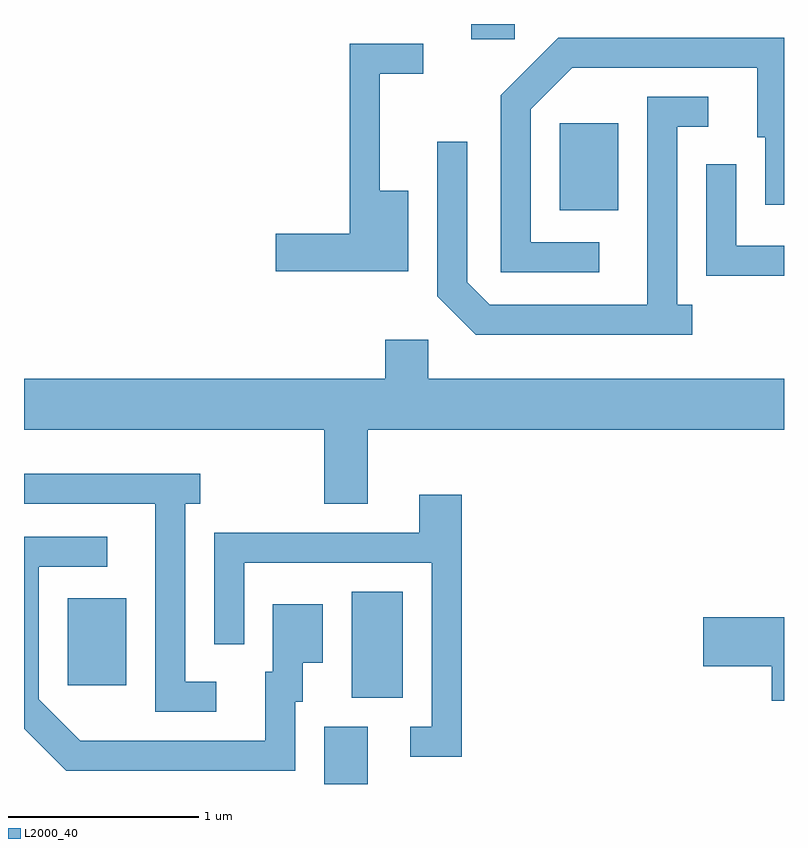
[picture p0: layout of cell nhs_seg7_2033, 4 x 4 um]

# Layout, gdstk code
import gdstk
lib = gdstk.Library(unit=1e-6, precision=1e-09)
def R(c, l, rs):  # rectangles x0, y0, x1, y1
    for r in rs: c.add(gdstk.rectangle(r[:2], r[2:], *l))
def P(c, l, *ps):  # polygons
    for p in ps: c.add(gdstk.Polygon(p, *l))
L2000_40 = (2000, 40)

nhs_seg7_2033 = lib.new_cell('nhs_seg7_2033')
R(nhs_seg7_2033, L2000_40, [(249.191,1690.252,249.419,1690.554), (249.336,1690.706,249.604,1691.264), (247.841,1690.771,248.149,1691.229), (250.431,1693.271,250.739,1693.729), (249.966,1694.171,250.194,1694.252)])
P(nhs_seg7_2033, L2000_40, [(250.638,1693.104),(250.279,1693.104),(250.279,1693.804),(250.497,1694.021),(251.471,1694.021),(251.471,1693.656),(251.511,1693.656),(251.511,1693.301),(251.611,1693.301),(251.611,1694.179),(250.424,1694.179),(250.121,1693.877),(250.121,1692.946),(250.638,1692.946)],
  [(249.634,1693.374),(249.484,1693.374),(249.484,1693.991),(249.713,1693.991),(249.713,1694.149),(249.326,1694.149),(249.326,1693.149),(248.936,1693.149),(248.936,1692.951),(249.634,1692.951)],
  [(251.128,1692.774),(251.049,1692.774),(251.049,1693.711),(251.213,1693.711),(251.213,1693.869),(250.891,1693.869),(250.891,1692.774),(250.062,1692.774),(249.944,1692.892),(249.944,1693.633),(249.786,1693.633),(249.786,1692.819),(249.989,1692.616),(251.128,1692.616)],
  [(251.611,1693.084),(251.359,1693.084),(251.359,1693.513),(251.201,1693.513),(251.201,1692.926),(251.611,1692.926)],
  [(249.419,1692.116),(251.611,1692.116),(251.611,1692.384),(249.739,1692.384),(249.739,1692.589),(249.511,1692.589),(249.511,1692.384),(247.611,1692.384),(247.611,1692.116),(249.191,1692.116),(249.191,1691.726),(249.419,1691.726)],
  [(248.623,1690.789),(248.459,1690.789),(248.459,1691.726),(248.538,1691.726),(248.538,1691.884),(247.611,1691.884),(247.611,1691.726),(248.301,1691.726),(248.301,1690.631),(248.623,1690.631)],
  [(249.914,1691.774),(249.691,1691.774),(249.691,1691.574),(248.611,1691.574),(248.611,1690.988),(248.769,1690.988),(248.769,1691.416),(249.756,1691.416),(249.756,1690.554),(249.643,1690.554),(249.643,1690.396),(249.914,1690.396)],
  [(249.039,1690.686),(249.079,1690.686),(249.079,1690.891),(249.184,1690.891),(249.184,1691.199),(248.921,1691.199),(248.921,1690.844),(248.881,1690.844),(248.881,1690.479),(247.907,1690.479),(247.689,1690.697),(247.689,1691.396),(248.048,1691.396),(248.048,1691.554),(247.611,1691.554),(247.611,1690.544),(247.834,1690.321),(249.039,1690.321)],
  [(251.611,1691.129),(251.186,1691.129),(251.186,1690.871),(251.546,1690.871),(251.546,1690.691),(251.611,1690.691)])

lib.write_gds('nhs_seg7_2033.gds')
